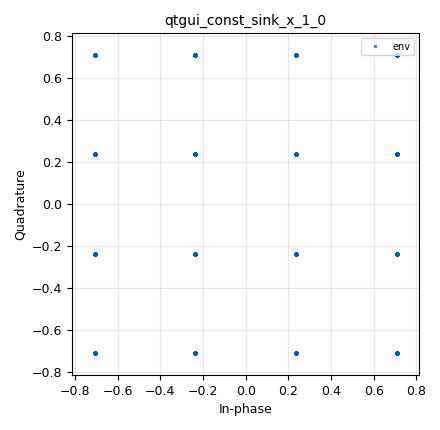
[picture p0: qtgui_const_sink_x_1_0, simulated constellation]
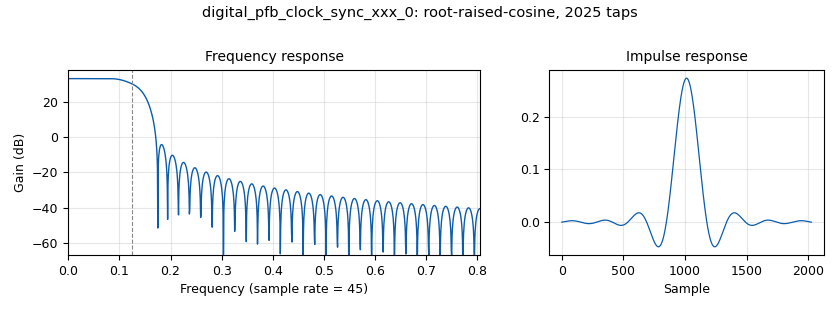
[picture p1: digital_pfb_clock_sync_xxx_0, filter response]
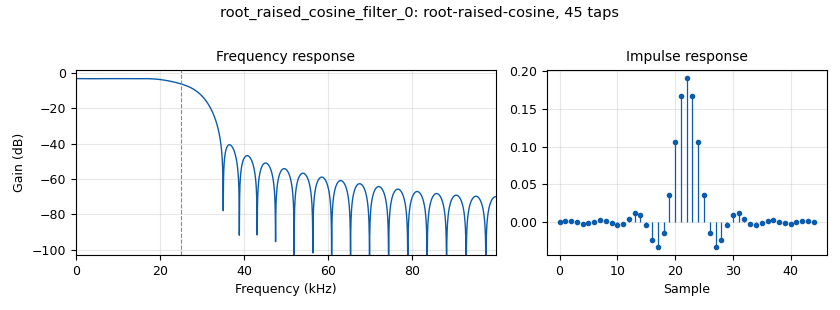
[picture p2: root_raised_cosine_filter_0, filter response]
options:
  parameters:
    category: Custom
    generate_options: qt_gui
    id: channel_dataset
    output_language: python
    title: channel_dataset_16qam
  states: {}

blocks:
- name: arity
  id: variable
  parameters:
    value: '4'
  states: {}
- name: excess_bw
  id: variable
  parameters:
    value: '0.35'
  states: {}
- name: nfilts
  id: variable
  parameters:
    value: '45'
  states: {}
- name: phase_bw
  id: variable
  parameters:
    value: '0.00628'
  states: {}
- name: points_16qam
  id: variable
  parameters:
    value: '[ -0.7071-0.7071j, -0.7071-0.2357j, -0.7071+0.2357j, -0.7071+0.7071j, -0.2357-0.7071j, -0.2357-0.2357j, -0.2357+0.2357j, -0.2357+0.7071j, 0.2357-0.7071j,  0.2357-0.2357j,  0.2357+0.2357j,  0.2357+0.7071j,  0.7071-0.7071j,  0.7071-0.2357j,  0.7071+0.2357j,  0.7071+0.7071j]'
  states: {}
- name: rf_gain
  id: variable
  parameters:
    value: '1'
  states: {}
- name: rrc_taps
  id: variable
  parameters:
    value: firdes.root_raised_cosine(nfilts, nfilts, 1.0/float(sps), 0.35, 45*nfilts)
  states: {}
- name: samp_rate
  id: variable
  parameters:
    value: 200e3
  states: {}
- name: samples
  id: variable
  parameters:
    value: 1000e3
  states: {}
- name: sps
  id: variable
  parameters:
    value: '4'
  states: {}
- name: tuning
  id: variable
  parameters:
    value: 1e6
  states: {}
- name: analog_random_source_x_0_0
  id: analog_random_source_x
  parameters:
    max: '16'
    min: '0'
    num_samps: int(samples)
    repeat: 'True'
    type: byte
  states: {}
- name: blocks_add_const_vxx_0
  id: blocks_add_const_vxx
  parameters:
    const: '1'
    type: short
  states: {state: disabled}
- name: blocks_file_sink_0
  id: blocks_file_sink
  parameters:
    file: /home/rodrigo/Documents/Amplificado/16QAM/sent
    type: complex
  states: {}
- name: blocks_file_sink_0_0
  id: blocks_file_sink
  parameters:
    file: /home/rodrigo/Documents/Amplificado/16QAM/received
    type: complex
  states: {}
- name: blocks_head_0_0_0
  id: blocks_head
  parameters:
    num_items: int(samples)
    type: complex
  states: {}
- name: blocks_multiply_const_vxx_1
  id: blocks_multiply_const_vxx
  parameters:
    const: '1000'
    type: complex
  states: {}
- name: digital_chunks_to_symbols_xx_0
  id: digital_chunks_to_symbols_xx
  parameters:
    dimension: '1'
    in_type: byte
    out_type: complex
    symbol_table: points_16qam
  states: {}
- name: digital_pfb_clock_sync_xxx_0
  id: digital_pfb_clock_sync_xxx
  parameters:
    filter_size: nfilts
    init_phase: nfilts/2
    loop_bw: phase_bw
    max_dev: '1.5'
    osps: '1'
    sps: sps
    taps: rrc_taps
    type: ccf
  states: {}
- name: qtgui_const_sink_x_0
  id: qtgui_const_sink_x
  parameters:
    autoscale: 'True'
    color1: '"green"'
    grid: 'True'
    gui_hint: 0,1,2,1
    label1: rec
    size: '2048'
    type: complex
    xmax: '1.8'
    xmin: '-1.8'
    ymax: '1.8'
    ymin: '-1.8'
  states: {}
- name: qtgui_const_sink_x_1_0
  id: qtgui_const_sink_x
  parameters:
    autoscale: 'True'
    gui_hint: 0,0,2,1
    label1: env
    size: '2048'
    type: complex
  states: {}
- name: root_raised_cosine_filter_0
  id: root_raised_cosine_filter
  parameters:
    alpha: '0.35'
    gain: '0.7'
    interp: sps
    ntaps: nfilts
    samp_rate: samp_rate
    sym_rate: samp_rate/sps
    type: interp_fir_filter_ccf
  states: {}
- name: uhd_usrp_sink_0
  id: uhd_usrp_sink
  parameters:
    ant0: '"TX/RX"'
    bw0: samp_rate
    center_freq0: tuning
    clock_source0: external
    dev_addr: '"addr0=192.168.10.2"'
    gain0: rf_gain
    gain_type0: normalized
    samp_rate: samp_rate
    sync: pc_clock
    type: fc32
  states: {}
- name: uhd_usrp_source_0
  id: uhd_usrp_source
  parameters:
    ant0: '"RX2"'
    bw0: samp_rate/2
    center_freq0: tuning
    clock_source0: external
    dc_offs_enb0: disabled
    dev_addr: '"addr0=192.168.10.3"'
    dev_args: '""'
    gain0: rf_gain
    gain_type0: normalized
    iq_imbal_enb0: disabled
    samp_rate: samp_rate
    sync: pc_clock
    type: fc32
  states: {}

connections:
- [analog_random_source_x_0_0, '0', digital_chunks_to_symbols_xx_0, '0']
- [blocks_head_0_0_0, '0', blocks_file_sink_0_0, '0']
- [blocks_multiply_const_vxx_1, '0', digital_pfb_clock_sync_xxx_0, '0']
- [digital_chunks_to_symbols_xx_0, '0', blocks_file_sink_0, '0']
- [digital_chunks_to_symbols_xx_0, '0', qtgui_const_sink_x_1_0, '0']
- [digital_chunks_to_symbols_xx_0, '0', root_raised_cosine_filter_0, '0']
- [digital_pfb_clock_sync_xxx_0, '0', blocks_head_0_0_0, '0']
- [digital_pfb_clock_sync_xxx_0, '0', qtgui_const_sink_x_0, '0']
- [root_raised_cosine_filter_0, '0', uhd_usrp_sink_0, '0']
- [uhd_usrp_source_0, '0', blocks_multiply_const_vxx_1, '0']

metadata:
  file_format: 1
  grc_version: 3.10.7.0
